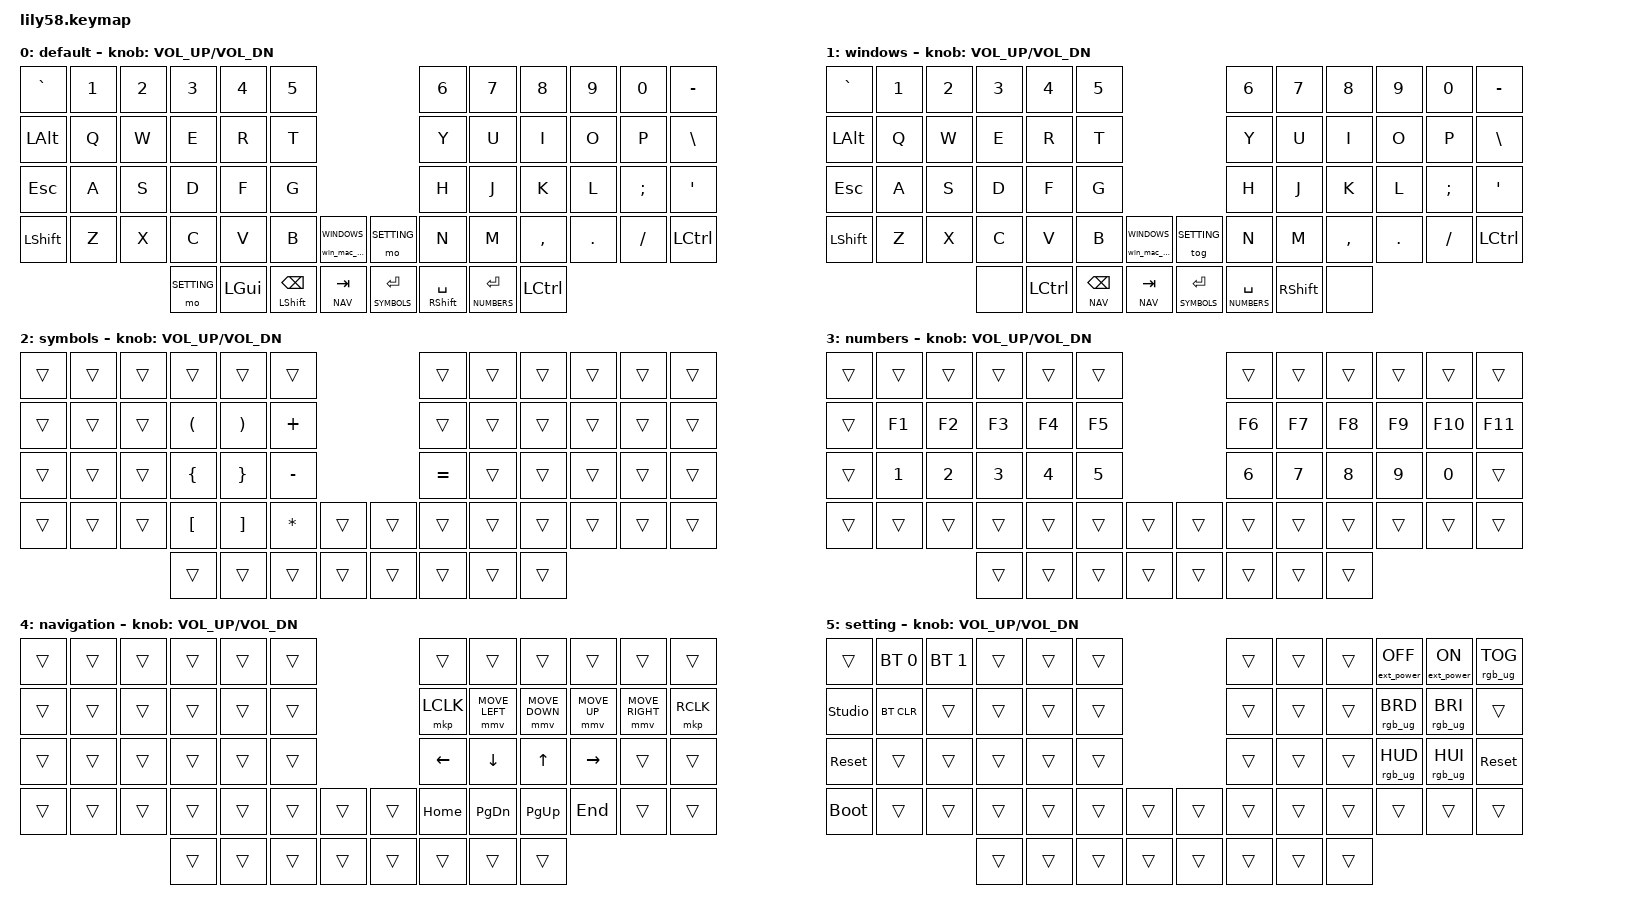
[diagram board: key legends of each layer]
#include <behaviors.dtsi>
#include <dt-bindings/zmk/keys.h>
#include <dt-bindings/zmk/bt.h>
#include <dt-bindings/zmk/rgb.h>
#include <dt-bindings/zmk/ext_power.h>
#include <dt-bindings/gpio/gpio.h>
#include <dt-bindings/zmk/pointing.h>

#define BASE 0
#define WINDOWS 1
#define SYMBOLS 2
#define NUMBERS 3
#define NAV 4
#define SETTING 5


&led_strip {
    chain-length = <35>;
};

/ {
    behaviors {
        mt: mod_tap {
            compatible = "zmk,behavior-hold-tap";
            label = "MT";
            tapping-term-ms = <200>;
            quick-tap-ms = <175>;
            require-prior-idle-ms = <125>;
            flavor = "tap-preferred";
            retro-tap;
            bindings = <&kp>, <&kp>;
        };

    soft_off: z_so_off {
        compatible = "zmk,behavior-soft-off";
        #binding-cells = <0>;
        split-peripheral-off-on-press;
        };

    win_mac_toggle: win_mac_toggle {
        compatible = "zmk,behavior-toggle-layer";
        #binding-cells = <1>;
        };

    combo_soft_off: combo_soft_off {
        compatible = "zmk,behavior-combo";
        #binding-cells = <0>;
        timeout-ms = <50>;
        key-positions = <25 30>; // Win/mac toggle (row 4, col 7) and Settings toggle (row 4, col 1 right)
        bindings = <&soft_off>;
        };
    };
};



/ {
    keymap {
        compatible = "zmk,keymap";

        default_layer {
            display-name = "default";
            // ================================================================================
            // MAC LAYOUT - BASE LAYER
            // ================================================================================
            // Left Hand                                                                          Right Hand 
            // ┌─────────┬─────────┬─────────┬─────────┬─────────┬─────────┐                     ┌─────────┬─────────┬─────────┬─────────┬─────────┬─────────┐
            // │    `    │    1    │    2    │    3    │    4    │    5    │                     │    6    │    7    │    8    │    9    │    0    │    -    │
            // ├─────────┼─────────┼─────────┼─────────┼─────────┼─────────┤                     ├─────────┼─────────┼─────────┼─────────┼─────────┼─────────┤
            // │   ALT   │    Q    │    W    │    E    │    R    │    T    │                     │    Y    │    U    │    I    │    O    │    P    │    \    │
            // ├─────────┼─────────┼─────────┼─────────┼─────────┼─────────┼─────────┐ ┌─────────├─────────┼─────────┼─────────┼─────────┼─────────┼─────────┤
            // │   ESC   │    A    │    S    │    D    │    F    │    G    │ WIN/MAC | |SETTINGS │    H    │    J    │    K    │    L    │    ;    │    '    │
            // ├─────────┼─────────┼─────────┼─────────┼─────────┼─────────┼─────────┘ └─────────├─────────┼─────────┼─────────┼─────────┼─────────┼─────────┤
            // │  SHIFT  │    Z    │    X    │    C    │    V    │    B    │                     │    N    │    M    │    ,    │    .    │    /    │  CTL/=  │
            // └─────────┴─────────┴─────────┴─────────┴─────────┴─────────┘                     └─────────┴─────────┴─────────┴─────────┴─────────┴─────────┘
            //                               ┌─────────┬─────────┬─────────┬─────────┐ ┌─────────┬─────────┬─────────┬─────────┐
            //                               │         │   GUI   │ BSP/NAV │TAB/MOUSE│ │ENTER/NUM│SPC/SYMB │  SHIFT  │         │
            //                               └─────────┴─────────┴─────────┴─────────┘ └─────────┴─────────┴─────────┴─────────┘
            // 
            // Legend: /SHIFT = Shift modifier, /GUI = GUI modifier, SYMBOLS = Symbols layer, SETTINGS = Settings layer
            
            bindings = <
                &kp GRAVE         &kp N1             &kp N2             &kp N3           &kp N4           &kp N5                                                           &kp N6             &kp N7           &kp N8           &kp N9           &kp N0             &kp MINUS
                &kp LALT          &kp Q              &kp W              &kp E            &kp R            &kp T                                                            &kp Y              &kp U            &kp I            &kp O            &kp P              &kp BSLH
                &kp ESC           &kp A              &kp S              &kp D            &kp F            &kp G                                                            &kp H              &kp J            &kp K            &kp L            &kp SEMI           &kp SQT
                &kp LSHFT         &kp Z              &kp X              &kp C            &kp V            &kp B             &win_mac_toggle WINDOWS    &mo SETTING         &kp N              &kp M            &kp COMMA        &kp DOT          &kp FSLH           &kp LCTRL
                                                                        &mo SETTING            &kp LGUI         &mt LSHFT BSPC    &lt NAV TAB                &lt SYMBOLS RET     &mt RSHFT SPACE    &lt NUMBERS RET  &kp LCTRL
            >;

            sensor-bindings = <&inc_dec_kp C_VOL_UP C_VOL_DN>;
        };

        windows_layer {
            display-name = "windows";
            // ================================================================================
            // WINDOWS LAYOUT - BASE LAYER
            // ================================================================================
            // Left Hand                                                                          Right Hand 
            // ┌─────────┬─────────┬─────────┬─────────┬─────────┬─────────┐                     ┌─────────┬─────────┬─────────┬─────────┬─────────┬─────────┐
            // │    `    │    1    │    2    │    3    │    4    │    5    │                     │    6    │    7    │    8    │    9    │    0    │    -    │
            // ├─────────┼─────────┼─────────┼─────────┼─────────┼─────────┤                     ├─────────┼─────────┼─────────┼─────────┼─────────┼─────────┤
            // │   ALT   │    Q    │    W    │    E    │    R    │    T    │                     │    Y    │    U    │    I    │    O    │    P    │    \    │
            // ├─────────┼─────────┼─────────┼─────────┼─────────┼─────────┼─────────┐ ┌─────────├─────────┼─────────┼─────────┼─────────┼─────────┼─────────┤
            // │   ESC   │    A    │    S    │    D    │    F    │    G    │ WIN/MAC | |SETTINGS │    H    │    J    │    K    │    L    │    ;    │    '    │
            // ├─────────┼─────────┼─────────┼─────────┼─────────┼─────────┼─────────┘ └─────────├─────────┼─────────┼─────────┼─────────┼─────────┼─────────┤
            // │  SHIFT  │    Z    │    X    │    C    │    V    │    B    │                     │    N    │    M    │    ,    │    .    │    /    │  GUI/=  │
            // └─────────┴─────────┴─────────┴─────────┴─────────┴─────────┘                     └─────────┴─────────┴─────────┴─────────┴─────────┴─────────┘
            //                               ┌─────────┬─────────┬─────────┬─────────┐ ┌─────────┬─────────┬─────────┬─────────┐
            //                               │         │  CTRL   │ BSP/NAV │TAB/MOUSE│ │ENTER/NUM│SPC/SYMB │  SHIFT  │         │
            //                               └─────────┴─────────┴─────────┴─────────┘ └─────────┴─────────┴─────────┴─────────┘
            // 
            // Legend: /SHIFT = Shift modifier, /GUI = GUI modifier, SYMBOLS = Symbols layer, SETTINGS = Settings layer
            
            bindings = <
                &kp GRAVE         &kp N1             &kp N2             &kp N3           &kp N4           &kp N5                                                           &kp N6             &kp N7           &kp N8           &kp N9           &kp N0             &kp MINUS
                &kp LALT          &kp Q              &kp W              &kp E            &kp R            &kp T                                                            &kp Y              &kp U            &kp I            &kp O            &kp P              &kp BSLH
                &kp ESC           &kp A              &kp S              &kp D            &kp F            &kp G                                                            &kp H              &kp J            &kp K            &kp L            &kp SEMI           &kp SQT
                &kp LSHFT         &kp Z              &kp X              &kp C            &kp V            &kp B             &win_mac_toggle WINDOWS    &tog SETTING        &kp N              &kp M            &kp COMMA        &kp DOT          &kp FSLH           &kp LCTRL
                                                                        &none            &kp LCTRL        &lt NAV BSPC      &lt NAV TAB                &lt SYMBOLS RET     &mt NUMBERS SPACE  &kp RSHFT        &none
            >;

            sensor-bindings = <&inc_dec_kp C_VOL_UP C_VOL_DN>;
        };

        symbols_layer {
            display-name = "symbols";
            // ================================================================================
            // SYMBOLS LAYER - Symbols only
            // ================================================================================
            // Left Hand                                                                         Right Hand
            // ┌─────────┬─────────┬─────────┬─────────┬─────────┬─────────┐                     ┌─────────┬─────────┬─────────┬─────────┬─────────┬─────────┐
            // │         │         │         │         │         │         │                     │         │         │         │         │         │         │
            // ├─────────┼─────────┼─────────┼─────────┼─────────┼─────────┤                     ├─────────┼─────────┼─────────┼─────────┼─────────┼─────────┤
            // │         │         │         │    (    │    )    │    +    │                     │         │         │         │         │         │         │
            // ├─────────┼─────────┼─────────┼─────────┼─────────┼─────────┤─────────┐ ┌─────────├─────────┼─────────┼─────────┼─────────┼─────────┼─────────┤
            // │         │         │         │    {    │    }    │    -    │         | |         │         │         │         │         │         │         │
            // ├─────────┼─────────┼─────────┼─────────┼─────────┼─────────┤─────────┘ └─────────├─────────┼─────────┼─────────┼─────────┼─────────┼─────────┤
            // │         │         │         │    [    │    ]    │    *    │                     │         │         │         │         │         │         │
            // └─────────┴─────────┴─────────┴─────────┴─────────┴─────────┘                     └─────────┴─────────┴─────────┴─────────┴─────────┴─────────┘
            //                               ┌─────────┬─────────┬─────────┬─────────┐ ┌─────────┬─────────┬─────────┬─────────┐
            //                               │         │         │         │         │ │         │         │         │         │
            //                               └─────────┴─────────┴─────────┴─────────┘ └─────────┴─────────┴─────────┴─────────┘
            bindings = <
                &trans              &trans              &trans            &trans            &trans            &trans                                                     &trans            &trans            &trans            &trans            &trans            &trans
                &trans              &trans              &trans            &kp LPAR          &kp RPAR          &kp PLUS                                                   &trans            &trans            &trans            &trans            &trans            &trans
                &trans              &trans              &trans            &kp LBRC          &kp RBRC          &kp MINUS                                                  &kp EQUAL         &trans            &trans            &trans            &trans            &trans
                &trans              &trans              &trans            &kp LBKT          &kp RBKT          &kp ASTERISK      &trans                 &trans            &trans            &trans            &trans            &trans            &trans           &trans
                                                                          &trans            &trans            &trans            &trans                 &trans            &trans            &trans            &trans                     
            >;

            sensor-bindings = <&inc_dec_kp C_VOL_UP C_VOL_DN>;
        };

        numbers_layer {
            display-name = "numbers";
            // ================================================================================
            // NUMBERS LAYER - Function keys and numbers
            // ================================================================================
            // Left Hand                                                                         Right Hand 
            // ┌─────────┬─────────┬─────────┬─────────┬─────────┬─────────┐                     ┌─────────┬─────────┬─────────┬─────────┬─────────┬─────────┐
            // │         │         │         │         │         │         │                     │         │         │         │         │         │         │
            // ├─────────┼─────────┼─────────┼─────────┼─────────┼─────────┤                     ├─────────┼─────────┼─────────┼─────────┼─────────┼─────────┤
            // │         │   F1    │   F2    │   F3    │   F4    │   F5    │                     │   F6    │   F7    │   F8    │   F9    │  F10    │  F11    │
            // ├─────────┼─────────┼─────────┼─────────┼─────────┼─────────┤─────────┐ ┌─────────├─────────┼─────────┼─────────┼─────────┼─────────┼─────────┤
            // │         │    1    │    2    │    3    │    4    │    5    │         | |         │    6    │    7    │    8    │    9    │    0    │         │
            // ├─────────┼─────────┼─────────┼─────────┼─────────┼─────────┤─────────┘ └─────────├─────────┼─────────┼─────────┼─────────┼─────────┼─────────┤
            // │         │         │         │         │         │         │                     │         │         │         │         │         │         │
            // └─────────┴─────────┴─────────┴─────────┴─────────┴─────────┘                     └─────────┴─────────┴─────────┴─────────┴─────────┴─────────┘
            //                               ┌─────────┬─────────┬─────────┬─────────┐ ┌─────────┬─────────┬─────────┬─────────┐
            //                               │         │         │         │         │ │         │         │         │         │
            //                               └─────────┴─────────┴─────────┴─────────┘ └─────────┴─────────┴─────────┴─────────┘
            bindings = <
                &trans              &trans              &trans            &trans            &trans            &trans                                                           &trans            &trans            &trans            &trans            &trans            &trans
                &trans              &kp F1              &kp F2            &kp F3            &kp F4            &kp F5                                                           &kp F6            &kp F7            &kp F8            &kp F9            &kp F10           &kp F11
                &trans              &kp N1              &kp N2            &kp N3            &kp N4            &kp N5                                                           &kp N6            &kp N7            &kp N8            &kp N9            &kp N0            &trans
                &trans              &trans              &trans            &trans            &trans            &trans            &trans                       &trans            &trans            &trans            &trans            &trans            &trans           &trans
                                                                          &trans            &trans            &trans            &trans                       &trans            &trans            &trans            &trans
            >;

            sensor-bindings = <&inc_dec_kp C_VOL_UP C_VOL_DN>;
        };


        nav_layer {
            display-name = "navigation";
            // ================================================================================
            // NAVIGATION LAYER - Mouse and arrow keys
            // ================================================================================
            // Left Hand                                                                         Right Hand 
            // ┌─────────┬─────────┬─────────┬─────────┬─────────┬─────────┐                     ┌─────────┬─────────┬─────────┬─────────┬─────────┬─────────┐
            // │         │         │         │         │         │         │                     │         │         │         │         │         │         │
            // ├─────────┼─────────┼─────────┼─────────┼─────────┼─────────┤                     ├─────────┼─────────┼─────────┼─────────┼─────────┼─────────┤
            // │         │         │         │         │         │         │                     │  LCLK   │  MOUSE  │  MOUSE  │  MOUSE  │  MOUSE  │  RCLK   │
            // ├─────────┼─────────┼─────────┼─────────┼─────────┼─────────┤─────────┐ ┌─────────├─────────┼─────────┼─────────┼─────────┼─────────┼─────────┤
            // │         │         │         │         │         │         │         | |         │    ←    │    ↓    │    ↑    │    →    │         │         │
            // ├─────────┼─────────┼─────────┼─────────┼─────────┼─────────┤─────────┘ └─────────├─────────┼─────────┼─────────┼─────────┼─────────┼─────────┤
            // │         │         │         │         │         │         │                     │         │  HOME   │ PG_DN   │ PG_UP   │  END    │         │
            // └─────────┴─────────┴─────────┴─────────┴─────────┴─────────┘                     └─────────┴─────────┴─────────┴─────────┴─────────┴─────────┘
            //                               ┌─────────┬─────────┬─────────┬─────────┐ ┌─────────┬─────────┬─────────┬─────────┐
            //                               │         │         │         │         │ │         │         │         │         │
            //                               └─────────┴─────────┴─────────┴─────────┘ └─────────┴─────────┴─────────┴─────────┘
            bindings = <
                &trans              &trans              &trans            &trans            &trans            &trans                                                            &trans            &trans            &trans            &trans            &trans            &trans
                &trans              &trans              &trans            &trans            &trans            &trans                                                            &mkp LCLK         &mmv MOVE_LEFT    &mmv MOVE_DOWN    &mmv MOVE_UP      &mmv MOVE_RIGHT   &mkp RCLK
                &trans              &trans              &trans            &trans            &trans            &trans                                                            &kp LEFT          &kp DOWN          &kp UP            &kp RIGHT         &trans            &trans
                &trans              &trans              &trans            &trans            &trans            &trans           &trans                         &trans            &kp HOME          &kp PG_DN         &kp PG_UP         &kp END           &trans            &trans
                                                                          &trans            &trans            &trans           &trans                         &trans            &trans            &trans            &trans
            >;


            sensor-bindings = <&inc_dec_kp C_VOL_UP C_VOL_DN>;
        };

        setting_layer {
            display-name = "setting";
            // ================================================================================
            // SETTINGS LAYER - System controls, Bluetooth, RGB, and power management
            // ================================================================================
            // Left Hand                                                        Right Hand 
            // ┌─────────┬─────────┬─────────┬─────────┬─────────┬─────────┐                    ┌─────────┬─────────┬─────────┬─────────┬─────────┬─────────┐
            // │         │  BT1    │  BT2    │         │         │         │                    │         │         │         │  POWER- │ POWER+  │   RGB   │
            // ├─────────┼─────────┼─────────┼─────────┼─────────┼─────────┤                    ├─────────┼─────────┼─────────┼─────────┼─────────┼─────────┤
            // │ STUDIO  │ CLEAR   │         │         │         │         │                    │         │         │         │ BRIGHT- │ BRIGHT+ │         │
            // ├─────────┼─────────┼─────────┼─────────┼─────────┼─────────┤─────────┐ ┌────────├─────────┼─────────┼─────────┼─────────┼─────────┼─────────┤
            // │ RESET   │         │         │         │         │         │         | |        │         │         │         │ HUE-    │  HUE+   │ RESET   │
            // ├─────────┼─────────┼─────────┼─────────┼─────────┼─────────┤─────────┘ └────────├─────────┼─────────┼─────────┼─────────┼─────────┼─────────┤
            // │ BOOT    │         │         │         │         │         │                    │         │         │         │ SAT-    │  SAT+   │ BOOT    │
            // └─────────┴─────────┴─────────┴─────────┴─────────┴─────────┘                    └─────────┴─────────┴─────────┴─────────┴─────────┴─────────┘
            //                               ┌─────────┬─────────┬─────────┬─────────┐ ┌─────────┬─────────┬─────────┬─────────┐
            //                               │         │         │         │         │ │         │         │         │         │
            //                               └─────────┴─────────┴─────────┴─────────┘ └─────────┴─────────┴─────────┴─────────┘
            // Legend: BT1/BT2 = Bluetooth device selection, STUDIO = Studio unlock, 
            //         CLEAR = Clear Bluetooth, RESET = System reset, BOOT = Bootloader mode,
            //         POWER = Power controls, BRIGHT = RGB brightness, HUE = RGB hue, SAT = RGB saturation
            bindings = <
                &trans              &bt BT_SEL 0        &bt BT_SEL 1       &trans            &trans            &trans                                                           &trans            &trans            &trans            &ext_power EP_OFF &ext_power EP_ON  &rgb_ug RGB_TOG
                &studio_unlock      &bt BT_CLR          &trans             &trans            &trans            &trans                                                           &trans            &trans            &trans            &rgb_ug RGB_BRD   &rgb_ug RGB_BRI   &trans
                &sys_reset          &trans              &trans             &trans            &trans            &trans                                                           &trans            &trans            &trans            &rgb_ug RGB_HUD   &rgb_ug RGB_HUI   &sys_reset
                &bootloader         &trans              &trans             &trans            &trans            &trans            &trans                        &trans           &trans            &trans            &trans            &trans            &trans           &trans
                                                                         &trans             &trans            &trans            &trans                         &trans           &trans            &trans            &trans
            >;

            sensor-bindings = <&inc_dec_kp C_VOL_UP C_VOL_DN>;
        };
    };
};
